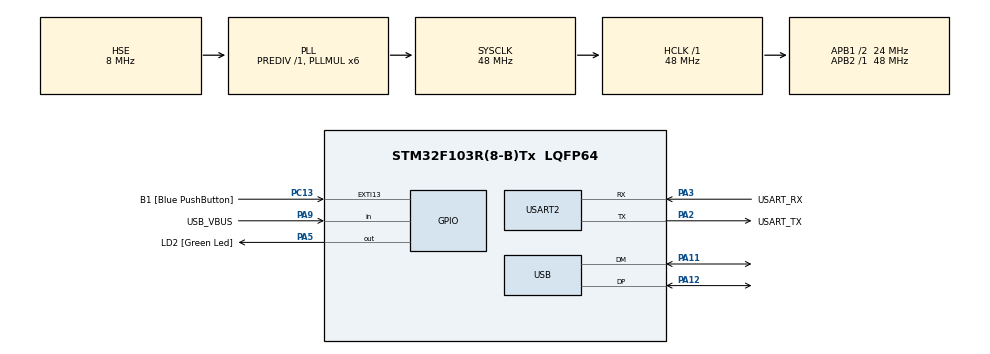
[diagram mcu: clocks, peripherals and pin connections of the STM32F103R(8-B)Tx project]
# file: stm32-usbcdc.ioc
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Mcu.Family=STM32F1
PA2.GPIO_PuPd=GPIO_NOPULL
USB_DEVICE.CLASS_NAME_FS=CDC
PD1-OSC_OUT.Mode=HSE-External-Clock-Source
USB_DEVICE.VirtualModeFS=Cdc_FS
PA9.GPIO_Label=USB_VBUS
PA14.GPIO_Label=TCK
PA3.GPIO_PuPd=GPIO_NOPULL
PA2.GPIO_Speed=GPIO_SPEED_FREQ_LOW
PC13-TAMPER-RTC.Signal=GPXTI13
PA11.Mode=Device
PD0-OSC_IN.Signal=RCC_OSC_IN
RCC.APB1CLKDivider=RCC_HCLK_DIV2
PC14-OSC32_IN.Signal=RCC_OSC32_IN
PA3.GPIO_Speed=GPIO_SPEED_FREQ_LOW
RCC.SYSCLKSource=RCC_SYSCLKSOURCE_PLLCLK
ProjectManager.StackSize=0x400
PD1-OSC_OUT.Signal=RCC_OSC_OUT
PA3.Mode=Asynchronous
PA13.Signal=SYS_JTMS-SWDIO
PA12.Signal=USB_DP
NVIC.USB_HP_CAN1_TX_IRQn=true\:0\:0\:false\:false\:true\:true\:true
ProjectManager.TargetToolchain=Makefile
PA3.GPIO_Mode=GPIO_MODE_AF_PP
RCC.HCLKFreq_Value=48000000
VP_USB_DEVICE_VS_USB_DEVICE_CDC_FS.Mode=CDC_FS
RCC.APB2TimFreq_Value=48000000
PA9.Signal=GPIO_Input
RCC.USBFreq_Value=48000000
PC15-OSC32_OUT.Signal=RCC_OSC32_OUT
RCC.AHBFreq_Value=48000000
PD0-OSC_IN.Mode=HSE-External-Clock-Source
NVIC.EXTI15_10_IRQn=true\:0\:0\:false\:false\:true\:true\:true
PA5.Signal=GPIO_Output
board=NUCLEO-F103RB
PC13-TAMPER-RTC.GPIO_ModeDefaultEXTI=GPIO_MODE_IT_FALLING
PC13-TAMPER-RTC.GPIO_Label=B1 [Blue PushButton]
RCC.PLLMUL=RCC_PLL_MUL6
RCC.APB2Freq_Value=48000000
PA5.GPIO_ModeDefaultOutputPP=GPIO_MODE_OUTPUT_PP
PA14.Mode=Serial_Wire
PA5.GPIO_PuPd=GPIO_NOPULL
NVIC.USB_LP_CAN1_RX0_IRQn=true\:0\:0\:false\:false\:true\:false\:true
PA13.Mode=Serial_Wire
Mcu.Name=STM32F103R(8-B)Tx
PA2.Signal=USART2_TX
PA13.GPIO_Label=TMS
PB3.Signal=SYS_JTDO-TRACESWO
RCC.SYSCLKFreq_VALUE=48000000
Mcu.Package=LQFP64
PA12.Mode=Device
PA5.GPIO_Label=LD2 [Green Led]
USART2.VirtualMode=VM_ASYNC
PC13-TAMPER-RTC.GPIO_PuPd=GPIO_NOPULL
PA2.GPIO_Label=USART_TX
PA11.Signal=USB_DM
PA14.Signal=SYS_JTCK-SWCLK
ProjectManager.HeapSize=0x200
PA5.GPIO_Speed=GPIO_SPEED_FREQ_LOW
NVIC.PriorityGroup=NVIC_PRIORITYGROUP_4
RCC.APB1TimFreq_Value=48000000
PA2.Mode=Asynchronous
RCC.APB1Freq_Value=24000000
USB_DEVICE.VirtualMode=Cdc
PA3.GPIO_Label=USART_RX
PA3.Signal=USART2_RX
PA2.GPIO_Mode=GPIO_MODE_AF_PP
PB3.GPIO_Label=SWO

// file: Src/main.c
/* USER CODE BEGIN Header */
/**
  ******************************************************************************
  * @file           : main.c
  * @brief          : Main program body
  ******************************************************************************
  * @attention
  *
  * <h2><center>&copy; Copyright (c) 2020 STMicroelectronics.
  * All rights reserved.</center></h2>
  *
  * This software component is licensed by ST under Ultimate Liberty license
  * SLA0044, the "License"; You may not use this file except in compliance with
  * the License. You may obtain a copy of the License at:
  *                             www.st.com/SLA0044
  *
  ******************************************************************************
  */
/* USER CODE END Header */

#include "main.h"
#include "usb_device.h"

/* USER CODE BEGIN Includes */
#include <stdio.h>
/* USER CODE END Includes */

UART_HandleTypeDef huart2;

void SystemClock_Config(void);
static void MX_GPIO_Init(void);
static void MX_USART2_UART_Init(void);
/* USER CODE BEGIN PFP */
static void UsbPullUpOn (void);
static void UsbPullUpOff (void);

/* USER CODE END PFP */

int main(void)
{

  /* MCU Configuration--------------------------------------------------------*/

  /* Reset of all peripherals, Initializes the Flash interface and the Systick. */
  HAL_Init();

  /* Configure the system clock */
  SystemClock_Config();

  /* Initialize all configured peripherals */
  MX_GPIO_Init();
  MX_USART2_UART_Init();
  MX_USB_DEVICE_Init();
  /* USER CODE BEGIN 2 */
  UsbPullUpOff();
  setvbuf(stdin, NULL, _IONBF, 0);
  setvbuf(stdout, NULL, _IONBF, 0);
  setvbuf(stderr, NULL, _IONBF, 0);
  /* USER CODE END 2 */

  /* Infinite loop */
  while (1)
  {

    /* USER CODE BEGIN 3 */
    HAL_Delay(500);
    HAL_GPIO_TogglePin(LD2_GPIO_Port, LD2_Pin);
    if (HAL_GPIO_ReadPin(USB_VBUS_GPIO_Port, USB_VBUS_Pin) == GPIO_PIN_SET)
    {
        UsbPullUpOn();

    }
    else
    {
        UsbPullUpOff();
    }

    printf("Git hash is %s\r\n", GIT_HASH);

  }
  /* USER CODE END 3 */
}

void SystemClock_Config(void)
{
  RCC_OscInitTypeDef RCC_OscInitStruct = {0};
  RCC_ClkInitTypeDef RCC_ClkInitStruct = {0};
  RCC_PeriphCLKInitTypeDef PeriphClkInit = {0};

  /** Initializes the CPU, AHB and APB busses clocks
  */
  RCC_OscInitStruct.OscillatorType = RCC_OSCILLATORTYPE_HSE;
  RCC_OscInitStruct.HSEState = RCC_HSE_BYPASS;
  RCC_OscInitStruct.HSEPredivValue = RCC_HSE_PREDIV_DIV1;
  RCC_OscInitStruct.HSIState = RCC_HSI_ON;
  RCC_OscInitStruct.PLL.PLLState = RCC_PLL_ON;
  RCC_OscInitStruct.PLL.PLLSource = RCC_PLLSOURCE_HSE;
  RCC_OscInitStruct.PLL.PLLMUL = RCC_PLL_MUL6;
  if (HAL_RCC_OscConfig(&RCC_OscInitStruct) != HAL_OK)
  {
    Error_Handler();
  }
  /** Initializes the CPU, AHB and APB busses clocks
  */
  RCC_ClkInitStruct.ClockType = RCC_CLOCKTYPE_HCLK|RCC_CLOCKTYPE_SYSCLK
                              |RCC_CLOCKTYPE_PCLK1|RCC_CLOCKTYPE_PCLK2;
  RCC_ClkInitStruct.SYSCLKSource = RCC_SYSCLKSOURCE_PLLCLK;
  RCC_ClkInitStruct.AHBCLKDivider = RCC_SYSCLK_DIV1;
  RCC_ClkInitStruct.APB1CLKDivider = RCC_HCLK_DIV2;
  RCC_ClkInitStruct.APB2CLKDivider = RCC_HCLK_DIV1;

  if (HAL_RCC_ClockConfig(&RCC_ClkInitStruct, FLASH_LATENCY_1) != HAL_OK)
  {
    Error_Handler();
  }
  PeriphClkInit.PeriphClockSelection = RCC_PERIPHCLK_USB;
  PeriphClkInit.UsbClockSelection = RCC_USBCLKSOURCE_PLL;
  if (HAL_RCCEx_PeriphCLKConfig(&PeriphClkInit) != HAL_OK)
  {
    Error_Handler();
  }
}

static void MX_USART2_UART_Init(void)
{

  huart2.Instance = USART2;
  huart2.Init.BaudRate = 115200;
  huart2.Init.WordLength = UART_WORDLENGTH_8B;
  huart2.Init.StopBits = UART_STOPBITS_1;
  huart2.Init.Parity = UART_PARITY_NONE;
  huart2.Init.Mode = UART_MODE_TX_RX;
  huart2.Init.HwFlowCtl = UART_HWCONTROL_NONE;
  huart2.Init.OverSampling = UART_OVERSAMPLING_16;
  if (HAL_UART_Init(&huart2) != HAL_OK)
  {
    Error_Handler();
  }

}

static void MX_GPIO_Init(void)
{
  GPIO_InitTypeDef GPIO_InitStruct = {0};

  /* GPIO Ports Clock Enable */
  __HAL_RCC_GPIOC_CLK_ENABLE();
  __HAL_RCC_GPIOD_CLK_ENABLE();
  __HAL_RCC_GPIOA_CLK_ENABLE();
  __HAL_RCC_GPIOB_CLK_ENABLE();

  /*Configure GPIO pin Output Level */
  HAL_GPIO_WritePin(LD2_GPIO_Port, LD2_Pin, GPIO_PIN_RESET);

  /*Configure GPIO pin : B1_Pin */
  GPIO_InitStruct.Pin = B1_Pin;
  GPIO_InitStruct.Mode = GPIO_MODE_IT_FALLING;
  GPIO_InitStruct.Pull = GPIO_NOPULL;
  HAL_GPIO_Init(B1_GPIO_Port, &GPIO_InitStruct);

  /*Configure GPIO pin : LD2_Pin */
  GPIO_InitStruct.Pin = LD2_Pin;
  GPIO_InitStruct.Mode = GPIO_MODE_OUTPUT_PP;
  GPIO_InitStruct.Pull = GPIO_NOPULL;
  GPIO_InitStruct.Speed = GPIO_SPEED_FREQ_LOW;
  HAL_GPIO_Init(LD2_GPIO_Port, &GPIO_InitStruct);

  /*Configure GPIO pin : USB_VBUS_Pin */
  GPIO_InitStruct.Pin = USB_VBUS_Pin;
  GPIO_InitStruct.Mode = GPIO_MODE_INPUT;
  GPIO_InitStruct.Pull = GPIO_NOPULL;
  HAL_GPIO_Init(USB_VBUS_GPIO_Port, &GPIO_InitStruct);

  /* EXTI interrupt init*/
  HAL_NVIC_SetPriority(EXTI15_10_IRQn, 0, 0);
  HAL_NVIC_EnableIRQ(EXTI15_10_IRQn);

}

/* USER CODE BEGIN 4 */
static void UsbPullUpOn (void)
{
  GPIO_InitTypeDef GPIO_InitStruct = {0};

  /*Configure GPIO pin Output Level */
  HAL_GPIO_WritePin(USB_PU_Port, USB_PU_Pin, GPIO_PIN_SET);

  /*Configure GPIO pin */
  GPIO_InitStruct.Pin = USB_PU_Pin;
  GPIO_InitStruct.Mode = GPIO_MODE_OUTPUT_PP;
  GPIO_InitStruct.Pull = GPIO_NOPULL;
  GPIO_InitStruct.Speed = GPIO_SPEED_FREQ_LOW;
  HAL_GPIO_Init(USB_PU_Port, &GPIO_InitStruct);

}

static void UsbPullUpOff (void)
{
  HAL_GPIO_DeInit(USB_PU_Port, USB_PU_Pin);

  HAL_GPIO_WritePin(USB_PU_Port, USB_PU_Pin, GPIO_PIN_RESET);
}

/* USER CODE END 4 */

void Error_Handler(void)
{
  /* USER CODE BEGIN Error_Handler_Debug */
  /* User can add his own implementation to report the HAL error return state */
asm("bkpt 255");
  /* USER CODE END Error_Handler_Debug */
}

/************************ (C) COPYRIGHT STMicroelectronics *****END OF FILE****/
